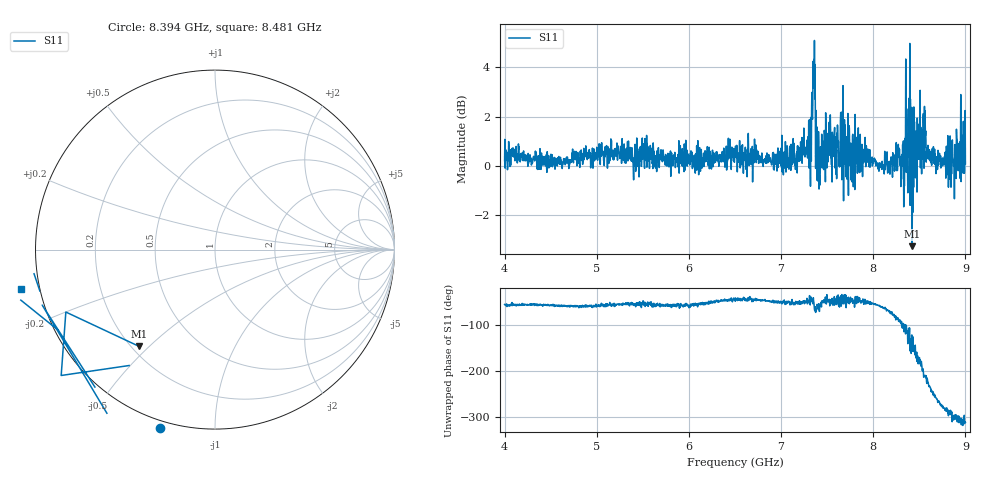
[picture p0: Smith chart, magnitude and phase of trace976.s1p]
! Created with skrf 1.8.0 (http://scikit-rf.org).
# Hz S RI R 50.0
!freq ReS11 ImS11
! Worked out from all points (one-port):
!   1601 points, 4 GHz to 9 GHz, reference 50 ohm
!   lowest |S11| = -3.3 dB at 8.422 GHz (marker M1), VSWR 5.36, Z = 11.4 - j23.2 ohm
!   |S11| at or under -10 dB: nowhere
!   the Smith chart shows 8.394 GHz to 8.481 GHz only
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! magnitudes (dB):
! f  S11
! 4 GHz  0.2
! 4.625 GHz  -0.1
! 5.25 GHz  0.3
! 5.875 GHz  0.3
! 6.5 GHz  0.4
! 7.125 GHz  0.7
! 7.294 GHz  0.7
! 7.319 GHz  -0.8
! 7.347 GHz  4.2
! 7.369 GHz  4.1
! 7.397 GHz  -0.6
! 7.412 GHz  -1.0
! 7.509 GHz  0.2
! 7.616 GHz  1.1
! 7.669 GHz  1.7
! 7.75 GHz  0.0
! 8.097 GHz  0.2
! 8.262 GHz  -0.2
! 8.316 GHz  0.0
! 8.375 GHz  -1.1
! 8.422 GHz  -3.3
! 8.447 GHz  1.8
! 8.459 GHz  -0.5
! 8.522 GHz  1.4
! 8.612 GHz  0.2
! 8.825 GHz  -0.3
! 8.972 GHz  0.6
! 9 GHz  0.1
